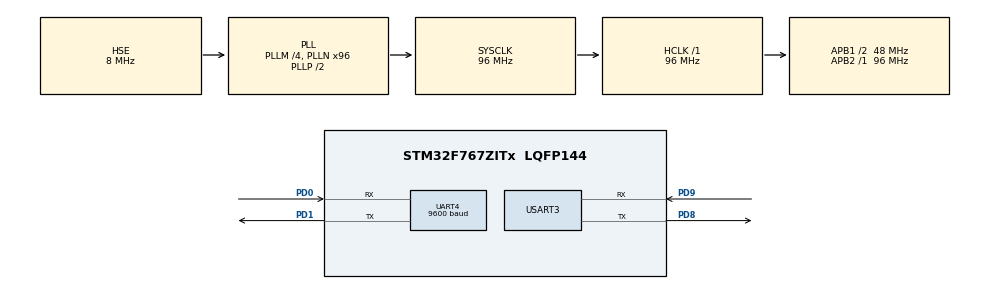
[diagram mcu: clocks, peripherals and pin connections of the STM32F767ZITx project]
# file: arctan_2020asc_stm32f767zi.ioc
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Mcu.Family=STM32F7
Mcu.Name=STM32F767ZITx
Mcu.Package=LQFP144
NVIC.PriorityGroup=NVIC_PRIORITYGROUP_4
NVIC.UART4_IRQn=true\:0\:0\:false\:false\:true\:true\:true
PA13.Mode=Serial_Wire
PA13.Signal=SYS_JTMS-SWDIO
PA14.Mode=Serial_Wire
PA14.Signal=SYS_JTCK-SWCLK
PC14/OSC32_IN.Mode=LSE-External-Oscillator
PC14/OSC32_IN.Signal=RCC_OSC32_IN
PC15/OSC32_OUT.Mode=LSE-External-Oscillator
PC15/OSC32_OUT.Signal=RCC_OSC32_OUT
PD0.Mode=Asynchronous
PD0.Signal=UART4_RX
PD1.Mode=Asynchronous
PD1.Signal=UART4_TX
PD8.Mode=Asynchronous
PD8.Signal=USART3_TX
PD9.Mode=Asynchronous
PD9.Signal=USART3_RX
PH0/OSC_IN.Mode=HSE-External-Oscillator
PH0/OSC_IN.Signal=RCC_OSC_IN
PH1/OSC_OUT.Mode=HSE-External-Oscillator
PH1/OSC_OUT.Signal=RCC_OSC_OUT
ProjectManager.HeapSize=0x200
ProjectManager.StackSize=0x400
ProjectManager.TargetToolchain=STM32CubeIDE
RCC.48MHZClocksFreq_Value=24000000
RCC.AHBFreq_Value=96000000
RCC.APB1CLKDivider=RCC_HCLK_DIV2
RCC.APB1Freq_Value=48000000
RCC.APB1TimFreq_Value=96000000
RCC.APB2Freq_Value=96000000
RCC.APB2TimFreq_Value=96000000
RCC.CortexFreq_Value=96000000
RCC.HCLKFreq_Value=96000000
RCC.HSE_VALUE=8000000
RCC.HSI_VALUE=16000000
RCC.PLLM=4
RCC.PLLMUL=RCC_PLL_MUL9
RCC.PLLN=96
RCC.PLLQ=4
RCC.PLLSourceVirtual=RCC_PLLSOURCE_HSE
RCC.PRESCALERUSB=RCC_USBCLKSOURCE_PLL_DIV1_5
RCC.SYSCLKFreq_VALUE=96000000
RCC.SYSCLKSource=RCC_SYSCLKSOURCE_PLLCLK
RCC.SYSCLKSourceVirtual=RCC_SYSCLKSOURCE_PLLCLK
RCC.USBFreq_Value=48000000
RCC.VCOOutputFreq_Value=192000000
UART4.BaudRate=9600
USART3.VirtualMode-Asynchronous=VM_ASYNC
board=NUCLEO-F767ZI

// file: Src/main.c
/* USER CODE BEGIN Header */
/**
  ******************************************************************************
  * @file           : main.c
  * @brief          : Main program body
  ******************************************************************************
  * @attention
  *
  * <h2><center>&copy; Copyright (c) 2019 STMicroelectronics.
  * All rights reserved.</center></h2>
  *
  * This software component is licensed by ST under BSD 3-Clause license,
  * the "License"; You may not use this file except in compliance with the
  * License. You may obtain a copy of the License at:
  *                        opensource.org/licenses/BSD-3-Clause
  *
  ******************************************************************************
  */
/* USER CODE END Header */

#include "main.h"

/* USER CODE BEGIN Includes */
#include <stdio.h>
#include <string.h>
/* USER CODE END Includes */

UART_HandleTypeDef huart4;
UART_HandleTypeDef huart3;

void SystemClock_Config(void);
static void MX_GPIO_Init(void);
static void MX_USART3_UART_Init(void);
static void MX_UART4_Init(void);
/* USER CODE BEGIN PFP */
void GPS_Process(void);
void GPS_Init(void);
/* USER CODE END PFP */

/* USER CODE BEGIN 0 */
typedef struct {
	uint8_t rxBuffer[512]; // buffer for message
	uint16_t rxIndex; // index position of current character
	uint8_t rxTmp; // placeholder byte
	uint32_t LastTime; //previous recorded time
}GPS_t;

GPS_t GPS;
/* USER CODE END 0 */

int main(void)
{

  /* MCU Configuration--------------------------------------------------------*/

  /* Reset of all peripherals, Initializes the Flash interface and the Systick. */
  HAL_Init();

  /* Configure the system clock */
  SystemClock_Config();

  /* Initialize all configured peripherals */
  MX_GPIO_Init();
  MX_USART3_UART_Init();
  MX_UART4_Init();
  /* USER CODE BEGIN 2 */
  GPS_Init();

  /* USER CODE END 2 */

  /* Infinite loop */
  /* USER CODE BEGIN WHILE */
  while (1)
  {
	  GPS_Process();
    /* USER CODE END WHILE */

  }
}

void SystemClock_Config(void)
{
  RCC_OscInitTypeDef RCC_OscInitStruct = {0};
  RCC_ClkInitTypeDef RCC_ClkInitStruct = {0};
  RCC_PeriphCLKInitTypeDef PeriphClkInitStruct = {0};

  /** Configure LSE Drive Capability
  */
  HAL_PWR_EnableBkUpAccess();
  /** Configure the main internal regulator output voltage
  */
  __HAL_RCC_PWR_CLK_ENABLE();
  __HAL_PWR_VOLTAGESCALING_CONFIG(PWR_REGULATOR_VOLTAGE_SCALE3);
  /** Initializes the CPU, AHB and APB busses clocks
  */
  RCC_OscInitStruct.OscillatorType = RCC_OSCILLATORTYPE_HSE;
  RCC_OscInitStruct.HSEState = RCC_HSE_ON;
  RCC_OscInitStruct.PLL.PLLState = RCC_PLL_ON;
  RCC_OscInitStruct.PLL.PLLSource = RCC_PLLSOURCE_HSE;
  RCC_OscInitStruct.PLL.PLLM = 4;
  RCC_OscInitStruct.PLL.PLLN = 96;
  RCC_OscInitStruct.PLL.PLLP = RCC_PLLP_DIV2;
  RCC_OscInitStruct.PLL.PLLQ = 4;
  if (HAL_RCC_OscConfig(&RCC_OscInitStruct) != HAL_OK)
  {
    Error_Handler();
  }
  /** Activate the Over-Drive mode
  */
  if (HAL_PWREx_EnableOverDrive() != HAL_OK)
  {
    Error_Handler();
  }
  /** Initializes the CPU, AHB and APB busses clocks
  */
  RCC_ClkInitStruct.ClockType = RCC_CLOCKTYPE_HCLK|RCC_CLOCKTYPE_SYSCLK
                              |RCC_CLOCKTYPE_PCLK1|RCC_CLOCKTYPE_PCLK2;
  RCC_ClkInitStruct.SYSCLKSource = RCC_SYSCLKSOURCE_PLLCLK;
  RCC_ClkInitStruct.AHBCLKDivider = RCC_SYSCLK_DIV1;
  RCC_ClkInitStruct.APB1CLKDivider = RCC_HCLK_DIV2;
  RCC_ClkInitStruct.APB2CLKDivider = RCC_HCLK_DIV1;

  if (HAL_RCC_ClockConfig(&RCC_ClkInitStruct, FLASH_LATENCY_3) != HAL_OK)
  {
    Error_Handler();
  }
  PeriphClkInitStruct.PeriphClockSelection = RCC_PERIPHCLK_USART3|RCC_PERIPHCLK_UART4;
  PeriphClkInitStruct.Usart3ClockSelection = RCC_USART3CLKSOURCE_PCLK1;
  PeriphClkInitStruct.Uart4ClockSelection = RCC_UART4CLKSOURCE_PCLK1;
  if (HAL_RCCEx_PeriphCLKConfig(&PeriphClkInitStruct) != HAL_OK)
  {
    Error_Handler();
  }
}

static void MX_UART4_Init(void)
{

  huart4.Instance = UART4;
  huart4.Init.BaudRate = 9600;
  huart4.Init.WordLength = UART_WORDLENGTH_8B;
  huart4.Init.StopBits = UART_STOPBITS_1;
  huart4.Init.Parity = UART_PARITY_NONE;
  huart4.Init.Mode = UART_MODE_TX_RX;
  huart4.Init.HwFlowCtl = UART_HWCONTROL_NONE;
  huart4.Init.OverSampling = UART_OVERSAMPLING_16;
  huart4.Init.OneBitSampling = UART_ONE_BIT_SAMPLE_DISABLE;
  huart4.AdvancedInit.AdvFeatureInit = UART_ADVFEATURE_NO_INIT;
  if (HAL_UART_Init(&huart4) != HAL_OK)
  {
    Error_Handler();
  }

}

static void MX_USART3_UART_Init(void)
{

  huart3.Instance = USART3;
  huart3.Init.BaudRate = 115200;
  huart3.Init.WordLength = UART_WORDLENGTH_8B;
  huart3.Init.StopBits = UART_STOPBITS_1;
  huart3.Init.Parity = UART_PARITY_NONE;
  huart3.Init.Mode = UART_MODE_TX_RX;
  huart3.Init.HwFlowCtl = UART_HWCONTROL_NONE;
  huart3.Init.OverSampling = UART_OVERSAMPLING_16;
  huart3.Init.OneBitSampling = UART_ONE_BIT_SAMPLE_DISABLE;
  huart3.AdvancedInit.AdvFeatureInit = UART_ADVFEATURE_NO_INIT;
  if (HAL_UART_Init(&huart3) != HAL_OK)
  {
    Error_Handler();
  }

}

static void MX_GPIO_Init(void)
{

  /* GPIO Ports Clock Enable */
  __HAL_RCC_GPIOC_CLK_ENABLE();
  __HAL_RCC_GPIOH_CLK_ENABLE();
  __HAL_RCC_GPIOD_CLK_ENABLE();
  __HAL_RCC_GPIOA_CLK_ENABLE();

}

/* USER CODE BEGIN 4 */

void GPS_Init(void) {
	uint8_t buf[64];

	// turn on basic GGA(fix info) and RMC(location) info
	strcpy((char *)buf, "$PMTK314,0,1,0,1,0,0,0,0,0,0,0,0,0,0,0,0,0,0,0\r\n");
	HAL_UART_Transmit_IT(&huart4, (uint8_t *)buf, strlen((const char *)buf));
	memset(buf, 0, sizeof(buf));

	// set update rate for once a second(1hz)
	// if set otherwise, make sure to change uart timeout
	strcpy((char *)buf, "$PMTK220,1000\r\n");
	HAL_UART_Transmit_IT(&huart4, (uint8_t *)buf, strlen((const char *)buf));
	memset(buf, 0, sizeof(buf));

	GPS.rxIndex = 0;
	HAL_UART_Receive_IT(&huart4, &GPS.rxTmp, 1);
}

/* ~~~~~ CALLBACK FUNCTION ~~~~~ */
void HAL_UART_RxCpltCallback(UART_HandleTypeDef *huart)
{
	// record current tick time
	GPS.LastTime = HAL_GetTick();

	// if the current index is less than the buffer size
	// insert temp byte into buffer and incr index
	if(GPS.rxIndex < sizeof(GPS.rxBuffer) - 2) {
		GPS.rxBuffer[GPS.rxIndex] = GPS.rxTmp;
		GPS.rxIndex++;
	}

	// receive the next byte
	HAL_UART_Receive_IT(&huart4, &GPS.rxTmp, 1);
}

void GPS_Process(void) {

	uint32_t CurrentTime = HAL_GetTick();
	// print out data twice as fast as update rate(1hz)
	if( (CurrentTime - GPS.LastTime > 500) && (GPS.rxIndex > 0) ) {
		GPS.LastTime = CurrentTime;
		uint8_t buf[513];

		sprintf((char *)buf, "%s\r\n", (char *)GPS.rxBuffer);
		HAL_UART_Transmit(&huart3, (uint8_t*)buf, strlen((const char*)buf), HAL_MAX_DELAY);

		memset(GPS.rxBuffer, 0, sizeof(GPS.rxBuffer));
		GPS.rxIndex = 0;
	}
	HAL_UART_Receive_IT(&huart4, &GPS.rxTmp, 1);
}
/* USER CODE END 4 */

void Error_Handler(void)
{
}

/************************ (C) COPYRIGHT STMicroelectronics *****END OF FILE****/
